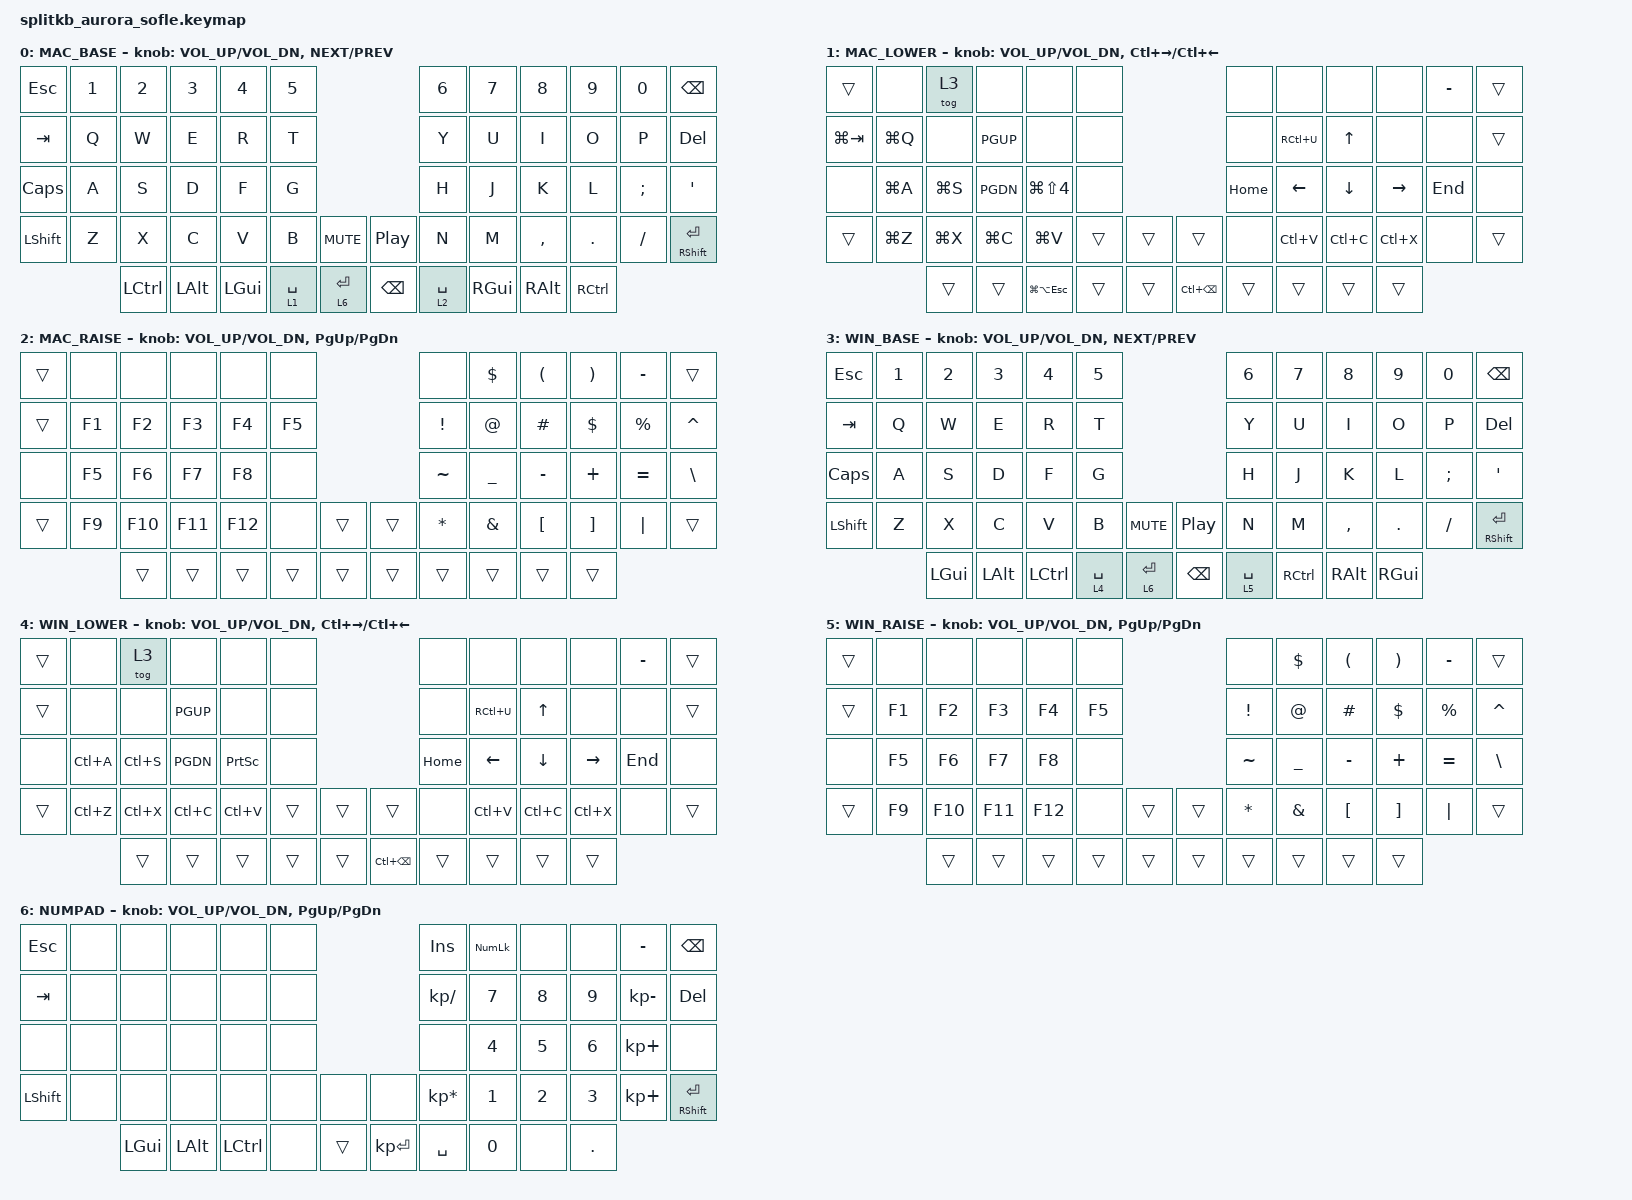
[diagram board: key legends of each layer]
// ============================================================
//  splitkb Aurora Sofle v2 — ZMK Keymap
//  Board:  splitkb Aurora Sofle (left + right)
//  Layers: 0 MAC_BASE  1 MAC_LOWER 2 MAC_RAISE 3 WIN_BASE 4 WIN_LOWER  5 WIN_RAISE  6 NUMPAD
//  No RGB
// ============================================================


#include <behaviors.dtsi>
#include <dt-bindings/zmk/bt.h>
#include <dt-bindings/zmk/ext_power.h>
#include <dt-bindings/zmk/keys.h>
#include <dt-bindings/zmk/outputs.h>

// ── Layer indices ────────────────────────────────────────────
#define MAC_BASE   0
#define MAC_LOWER  1
#define MAC_RAISE  2
#define WIN_BASE   3
#define WIN_LOWER  4
#define WIN_RAISE  5
#define NUMPAD 	   6

// ── Convenience aliases ──────────────────────────────────────
#define XXXXXXX  &none
#define _______  &trans
#define TILDESC  &mt TILDE ESC
#define SHFTENT  &mt RSHFT RETURN
#define SCREEN   &kp LG(LS(4))
#define S_LOW_M  &lt 1 SPACE
#define S_RSE_M  &lt 2 SPACE
#define S_LOW_W  &lt 4 SPACE
#define S_RSE_W  &lt 5 SPACE
#define ENTNUM   &lt 6 RETURN

/ {
    // ── Combos ──────────────────────────────────────────────
    combos {
        compatible = "zmk,combos";

        // Press both encoder buttons together to toggle ZMK Studio unlock
        combo_studio_unlock {
            timeout-ms = <50>;
            key-positions = <52 57>;   // left-enc + right-enc
            bindings = <&studio_unlock>;
        };
    };

    // ── Behaviors ───────────────────────────────────────────
    behaviors {
        rot_kp: sensor_rotate_kp {
            compatible = "zmk,behavior-sensor-rotate-var";
            #sensor-binding-cells = <2>;
            bindings = <&kp>, <&kp>;
        };
    };

    // ── Keymap ──────────────────────────────────────────────
    keymap {
        compatible = "zmk,keymap";

		// ── Layer 0 — MAC_BASE ────────────────────────────────
		//
		// Control (or Ctrl) ⌃ | Option (or Alt) ⌥ | Command (or Cmd) ⌘ | Fn (Function) or Globe
        //
		// ┌─────┬─────┬─────┬─────┬─────┬─────┐                ┌─────┬─────┬─────┬─────┬─────┬─────┐
        // │ ESC │  1  │  2  │  3  │  4  │  5  │                │  6  │  7  │  8  │  9  │  0  │BSPC │
        // ├─────┼─────┼─────┼─────┼─────┼─────┤                ├─────┼─────┼─────┼─────┼─────┼─────┤
        // │ TAB │  Q  │  W  │  E  │  R  │  T  │                │  Y  │  U  │  I  │  O  │  P  │ DEL │
        // ├─────┼─────┼─────┼─────┼─────┼─────┤                ├─────┼─────┼─────┼─────┼─────┼─────┤
        // │CAPS │  A  │  S  │  D  │  F  │  G  │                │  H  │  J  │  K  │  L  │  ;  │  '  │
        // ├─────┼─────┼─────┼─────┼─────┼─────┼─────┐    ┌─────┼─────┼─────┼─────┼─────┼─────┼─────┤
        // │SHFT │  Z  │  X  │  C  │  V  │  B  │MUTE │    │PLAY │  N  │  M  │  ,  │  .  │  /  │S/RET│
        // └─────┴─────┼─────┼─────┼─────┼─────┼─────┤    ├─────┼─────┼─────┼─────┼─────┼─────┴─────┘
        //             │CTRL │ ALT │ GUI │SPC/L│RET/N│    │BSPC │SPC/R│GUI  │ ALT │CTRL │
        //             └─────┴─────┴─────┴─────┴─────┘    └─────┴─────┴─────┴─────┴─────┘
        mac_base_layer {
            display-name = "MAC_BASE";
            bindings = <
                &kp ESC   &kp N1 &kp N2   &kp N3   &kp N4    &kp N5                        &kp N6  &kp N7    &kp N8    &kp N9   &kp N0   &kp BSPC
				&kp TAB   &kp Q  &kp W    &kp E    &kp R     &kp T                         &kp Y   &kp U     &kp I     &kp O    &kp P    &kp DEL
				&kp CAPS  &kp A  &kp S    &kp D    &kp F     &kp G                         &kp H   &kp J     &kp K     &kp L    &kp SEMI &kp SQT
				&kp LSHFT &kp Z	 &kp X    &kp C    &kp V  	 &kp B	 &kp C_MUTE	  &kp C_PP &kp N   &kp M     &kp COMMA &kp DOT  &kp FSLH SHFTENT
								&kp LCTRL &kp LALT &kp LGUI  S_LOW_M ENTNUM   	  &kp BSPC S_RSE_M &kp RGUI  &kp RALT  &kp RCTRL
            >;
            sensor-bindings = <&inc_dec_kp C_VOL_UP C_VOL_DN &inc_dec_kp C_NEXT C_PREV>;
        };

        // ── Layer 1 — MAC_LOWER  (shortcuts, navigation) ─────────────
		//
		// Control (or Ctrl) ⌃ | Option (or Alt) ⌥ | Command (or Cmd) ⌘ | Fn (Function) or Globe
        //
		// ┌─────┬─────┬─────┬─────┬─────┬─────┐                ┌─────┬─────┬─────┬─────┬─────┬─────┐
        // │ ESC │     │ WIN │     │     │     │                │     │     │     │     │  -  │BSPC │
        // ├─────┼─────┼─────┼─────┼─────┼─────┤                ├─────┼─────┼─────┼─────┼─────┼─────┤
        // │ APP │QUIT │     │PGUP │     │     │                │     │CTR+U│  UP │     │     │ DEL │
        // ├─────┼─────┼─────┼─────┼─────┼─────┤                ├─────┼─────┼─────┼─────┼─────┼─────┤
        // │     │ ALL │SAVE │PGDN │PRNT │     │                │HOME │LEFT │DOWN │RIGHT│ END │     │
        // ├─────┼─────┼─────┼─────┼─────┼─────┼─────┐    ┌─────┼─────┼─────┼─────┼─────┼─────┼─────┤
        // │SHFT │UNDO │ CUT │COPY │PASTE│     │MUTE │    │PLAY │     │PASTE│COPY │ CUT │     │S/RET│
        // └─────┴─────┼─────┼─────┼─────┼─────┼─────┤    ├─────┼─────┼─────┼─────┼─────┼─────┴─────┘
        //             │FORCE│ ALT │GUI  │     │RET/N│    │CBSPC│SPC/R│GUI  │ ALT │CTRL │
        //             └─────┴─────┴─────┴─────┴─────┘    └─────┴─────┴─────┴─────┴─────┘
        mac_lower_layer {
            display-name = "MAC_LOWER";
            bindings = <
				&trans      &none     &tog 3    &none     &none      &none                 		  &none       &none      &none     &none      &kp MINUS  &trans
				&kp LG(TAB) &kp LG(Q) &none     &kp PGUP  &none      &none                 		  &none       &kp RC(U)  &kp UP    &none      &none      &trans
				&none       &kp LG(A) &kp LG(S) &kp PGDN  SCREEN     &none		           		  &kp HOME    &kp LEFT   &kp DOWN  &kp RIGHT  &kp END    &none
				&trans      &kp LG(Z) &kp LG(X) &kp LG(C) &kp LG(V)  &trans	&trans	&trans  	  &none       &kp LC(V)  &kp LC(C) &kp LC(X)  &none      &trans
								      &trans  &trans &kp LG(LA(ESC)) &trans	&trans	&kp LC(BSPC)  &trans      &trans     &trans    &trans
            >;
             sensor-bindings = <&inc_dec_kp C_VOL_UP C_VOL_DN &inc_dec_kp LC(RIGHT) LC(LEFT)>;
        };

        // ── Layer 2 — MAC_RAISE  (function keys, symbols) ──────────
		//
		// Control (or Ctrl) ⌃ | Option (or Alt) ⌥ | Command (or Cmd) ⌘ | Fn (Function) or Globe
		//		
		// ┌─────┬─────┬─────┬─────┬─────┬─────┐                ┌─────┬─────┬─────┬─────┬─────┬─────┐
        // │ ESC │     │     │     │     │     │                │     │  $  │  (  │  )  │  -  │BSPC │
        // ├─────┼─────┼─────┼─────┼─────┼─────┤                ├─────┼─────┼─────┼─────┼─────┼─────┤
        // │ TAB │ F1  │ F2  │ F3  │ F4  │ F5  │                │  !  │  @  │  #  │  $  │  %  │  ^  │
        // ├─────┼─────┼─────┼─────┼─────┼─────┤                ├─────┼─────┼─────┼─────┼─────┼─────┤
        // │     │ F5  │ F6  │ F7  │ F8  │     │                │  ~  │  _  │  -  │  +  │  =  │  \  │
        // ├─────┼─────┼─────┼─────┼─────┼─────┼─────┐    ┌─────┼─────┼─────┼─────┼─────┼─────┼─────┤
        // │SHFT │ F9  │ F10 │ F11 │ F12 │     │MUTE │    │PLAY │  *  │  &  │  [  │  ]  │  |  │S/RET│
        // └─────┴─────┼─────┼─────┼─────┼─────┼─────┤    ├─────┼─────┼─────┼─────┼─────┼─────┴─────┘
        //             │CTRL │ ALT │GUI  │SPC/L│RET/N│    │BSPC │     │ GUI │ ALT │CTRL │
        //             └─────┴─────┴─────┴─────┴─────┘    └─────┴─────┴─────┴─────┴─────┘
        mac_raise_layer {
            display-name = "MAC_RAISE";
             bindings = <
				&trans   &none   &none   &none   &none   &none                        &none     &kp DLLR   &kp LPAR   &kp RPAR   &kp MINUS  &trans
				&trans   &kp F1  &kp F2  &kp F3  &kp F4  &kp F5                       &kp EXCL  &kp AT     &kp HASH   &kp DLLR   &kp PRCNT  &kp CARET
				&none    &kp F5  &kp F6  &kp F7  &kp F8  &none                        &kp TILDE &kp UNDER  &kp MINUS  &kp PLUS   &kp EQUAL  &kp BSLH
				&trans   &kp F9  &kp F10 &kp F11 &kp F12 &none     &trans   &trans    &kp ASTRK &kp AMPS   &kp LBKT   &kp RBKT   &kp PIPE   &trans
								 &trans  &trans  &trans  &trans    &trans   &trans    &trans    &trans     &trans     &trans
            >;

            sensor-bindings = <&inc_dec_kp C_VOL_UP C_VOL_DN &inc_dec_kp PG_UP PG_DN>;
        };

		// ── Layer 3 — WIN_BASE ────────────────────────────────
        // ┌─────┬─────┬─────┬─────┬─────┬─────┐                ┌─────┬─────┬─────┬─────┬─────┬─────┐
        // │ ESC │  1  │  2  │  3  │  4  │  5  │                │  6  │  7  │  8  │  9  │  0  │BSPC │
        // ├─────┼─────┼─────┼─────┼─────┼─────┤                ├─────┼─────┼─────┼─────┼─────┼─────┤
        // │ TAB │  Q  │  W  │  E  │  R  │  T  │                │  Y  │  U  │  I  │  O  │  P  │ DEL │
        // ├─────┼─────┼─────┼─────┼─────┼─────┤                ├─────┼─────┼─────┼─────┼─────┼─────┤
        // │CAPS │  A  │  S  │  D  │  F  │  G  │                │  H  │  J  │  K  │  L  │  ;  │  '  │
        // ├─────┼─────┼─────┼─────┼─────┼─────┼─────┐    ┌─────┼─────┼─────┼─────┼─────┼─────┼─────┤
        // │SHFT │  Z  │  X  │  C  │  V  │  B  │MUTE │    │PLAY │  N  │  M  │  ,  │  .  │  /  │S/RET│
        // └─────┴─────┼─────┼─────┼─────┼─────┼─────┤    ├─────┼─────┼─────┼─────┼─────┼─────┴─────┘
        //             │ GUI │ ALT │CTRL │SPC/L│RET/N│    │BSPC │SPC/R│CTRL │ ALT │ GUI │
        //             └─────┴─────┴─────┴─────┴─────┘    └─────┴─────┴─────┴─────┴─────┘
        win_base_layer {
            display-name = "WIN_BASE";
            bindings = <
                &kp ESC   &kp N1 &kp N2   &kp N3   &kp N4    &kp N5                        &kp N6  &kp N7    &kp N8    &kp N9   &kp N0   &kp BSPC
				&kp TAB   &kp Q  &kp W    &kp E    &kp R     &kp T                         &kp Y   &kp U     &kp I     &kp O    &kp P    &kp DEL
				&kp CAPS  &kp A  &kp S    &kp D    &kp F     &kp G                         &kp H   &kp J     &kp K     &kp L    &kp SEMI &kp SQT
				&kp LSHFT &kp Z	 &kp X    &kp C    &kp V  	 &kp B	 &kp C_MUTE	  &kp C_PP &kp N   &kp M     &kp COMMA &kp DOT  &kp FSLH SHFTENT
								 &kp LGUI &kp LALT &kp LCTRL S_LOW_W  ENTNUM   	  &kp BSPC S_RSE_W  &kp RCTRL &kp RALT  &kp RGUI
            >;
            sensor-bindings = <&inc_dec_kp C_VOL_UP C_VOL_DN &inc_dec_kp C_NEXT C_PREV>;
        };

        // ── Layer 4 — WIN_LOWER  (shortcuts, navigation) ─────────────
        // ┌─────┬─────┬─────┬─────┬─────┬─────┐                ┌─────┬─────┬─────┬─────┬─────┬─────┐
        // │ ESC │     │ MAC │     │     │     │                │     │     │     │     │  -  │BSPC │
        // ├─────┼─────┼─────┼─────┼─────┼─────┤                ├─────┼─────┼─────┼─────┼─────┼─────┤
        // │ TAB │     │     │PGUP │     │     │                │     │CTR+U│  UP │     │     │ DEL │
        // ├─────┼─────┼─────┼─────┼─────┼─────┤                ├─────┼─────┼─────┼─────┼─────┼─────┤
        // │     │ ALL │SAVE │PGDN │PRNT │     │                │HOME │LEFT │DOWN │RIGHT│ END │     │
        // ├─────┼─────┼─────┼─────┼─────┼─────┼─────┐    ┌─────┼─────┼─────┼─────┼─────┼─────┼─────┤
        // │SHFT │UNDO │ CUT │COPY │PASTE│     │MUTE │    │PLAY │     │PASTE│COPY │ CUT │     │S/RET│
        // └─────┴─────┼─────┼─────┼─────┼─────┼─────┤    ├─────┼─────┼─────┼─────┼─────┼─────┴─────┘
        //             │ GUI │ ALT │CTRL │     │RET/N│    │CBSPC│SPC/R│CTRL │ ALT │ GUI │
        //             └─────┴─────┴─────┴─────┴─────┘    └─────┴─────┴─────┴─────┴─────┘
        win_lower_layer {
            display-name = "WIN_LOWER";
            bindings = <
				&trans    &none     &tog 3     &none     &none      &none                   		  &none       &none      &none     &none      &kp MINUS  &trans
				&trans    &none     &none     &kp PGUP  &none      &none                   		  &none       &kp RC(U)  &kp UP    &none      &none      &trans
				&none     &kp LC(A) &kp LC(S) &kp PGDN  &kp PSCRN  &none		           		  &kp HOME    &kp LEFT   &kp DOWN  &kp RIGHT  &kp END    &none
				&trans    &kp LC(Z) &kp LC(X) &kp LC(C) &kp LC(V)  &trans	&trans	&trans  	  &none       &kp LC(V)  &kp LC(C) &kp LC(X)  &none      &trans
									&trans    &trans    &trans     &trans	&trans	&kp LC(BSPC)  &trans      &trans     &trans    &trans
            >;
             sensor-bindings = <&inc_dec_kp C_VOL_UP C_VOL_DN &inc_dec_kp LC(RIGHT) LC(LEFT)>;
        };

        // ── Layer 5 — WIN_RAISE  (function keys, symbols) ──────────
		// ┌─────┬─────┬─────┬─────┬─────┬─────┐                ┌─────┬─────┬─────┬─────┬─────┬─────┐
        // │ ESC │     │     │     │     │     │                │     │  $  │  (  │  )  │  -  │BSPC │
        // ├─────┼─────┼─────┼─────┼─────┼─────┤                ├─────┼─────┼─────┼─────┼─────┼─────┤
        // │ TAB │ F1  │ F2  │ F3  │ F4  │ F5  │                │  !  │  @  │  #  │  $  │  %  │  ^  │
        // ├─────┼─────┼─────┼─────┼─────┼─────┤                ├─────┼─────┼─────┼─────┼─────┼─────┤
        // │     │ F5  │ F6  │ F7  │ F8  │     │                │  ~  │  _  │  -  │  +  │  =  │  \  │
        // ├─────┼─────┼─────┼─────┼─────┼─────┼─────┐    ┌─────┼─────┼─────┼─────┼─────┼─────┼─────┤
        // │SHFT │ F9  │ F10 │ F11 │ F12 │     │MUTE │    │PLAY │  *  │  &  │  [  │  ]  │  |  │S/RET│
        // └─────┴─────┼─────┼─────┼─────┼─────┼─────┤    ├─────┼─────┼─────┼─────┼─────┼─────┴─────┘
        //             │ GUI │ ALT │CTRL │SPC/L│RET/N│    │BSPC │     │CTRL │ ALT │ GUI │
        //             └─────┴─────┴─────┴─────┴─────┘    └─────┴─────┴─────┴─────┴─────┘
        win_raise_layer {
            display-name = "WIN_RAISE";
             bindings = <
				&trans   &none   &none   &none   &none   &none                        &none     &kp DLLR   &kp LPAR   &kp RPAR   &kp MINUS  &trans
				&trans   &kp F1  &kp F2  &kp F3  &kp F4  &kp F5                       &kp EXCL  &kp AT     &kp HASH   &kp DLLR   &kp PRCNT  &kp CARET
				&none    &kp F5  &kp F6  &kp F7  &kp F8  &none                        &kp TILDE &kp UNDER  &kp MINUS  &kp PLUS   &kp EQUAL  &kp BSLH
				&trans   &kp F9  &kp F10 &kp F11 &kp F12 &none     &trans   &trans    &kp ASTRK &kp AMPS   &kp LBKT   &kp RBKT   &kp PIPE   &trans
								 &trans  &trans  &trans  &trans    &trans   &trans    &trans    &trans     &trans     &trans
            >;

            sensor-bindings = <&inc_dec_kp C_VOL_UP C_VOL_DN &inc_dec_kp PG_UP PG_DN>;
        };
		
		// ── Layer 6 — NUMPAD (Numpad) ───────────
		// ┌─────┬─────┬─────┬─────┬─────┬─────┐                ┌─────┬─────┬─────┬─────┬─────┬─────┐
        // │ ESC │     │     │     │     │     │                │INSRT│NUMLK│     │     │  -  │BSPC │
        // ├─────┼─────┼─────┼─────┼─────┼─────┤                ├─────┼─────┼─────┼─────┼─────┼─────┤
        // │ TAB │     │     │     │     │     │                │  /  │  7  │  8  │  9  │  -  │ DEL │
        // ├─────┼─────┼─────┼─────┼─────┼─────┤                ├─────┼─────┼─────┼─────┼─────┼─────┤
        // │     │     │     │     │     │     │                │     │  4  │  5  │  6  │  +  │     │
        // ├─────┼─────┼─────┼─────┼─────┼─────┼─────┐    ┌─────┼─────┼─────┼─────┼─────┼─────┼─────┤
        // │SHFT │     │     │     │     │     │MUTE │    │PLAY │  *  │  1  │  2  │  3  │  +  │S/RET│
        // └─────┴─────┼─────┼─────┼─────┼─────┼─────┤    ├─────┼─────┼─────┼─────┼─────┼─────┴─────┘
        //             │ GUI │ ALT │CTRL │SPC/L│     │    │RET  │SPC  │  0  │     │  .  │
        //             └─────┴─────┴─────┴─────┴─────┘    └─────┴─────┴─────┴─────┴─────┘
        numpad_layer {
			display-name = "NUMPAD";
            bindings = <
				&kp ESC		&none	&none	 &none	  &none	    &none						&kp INS			&kp KP_NUM &none	&none	&kp MINUS		&kp BSPC
				&kp TAB		&none	&none	 &none	  &none	    &none						&kp KP_DIVIDE	&kp N7	   &kp N8	&kp N9	&kp KP_MINUS	&kp DEL
				&none		&none	&none	 &none    &none	    &none						&none			&kp N4	   &kp N5	&kp N6	&kp KP_PLUS		&none
				&kp LSHFT	&none	&none	 &none	  &none	    &none	&none		&none	&kp KP_MULTIPLY	&kp N1	   &kp N2	&kp N3	&kp KP_PLUS		SHFTENT
									&kp LGUI &kp LALT &kp LCTRL &none	&trans   	&kp KP_ENTER &kp SPACE  &kp N0	   &none    &kp DOT
            >;
            sensor-bindings = <&inc_dec_kp C_VOL_UP C_VOL_DN &inc_dec_kp PG_UP PG_DN>;
        };
    };
};
